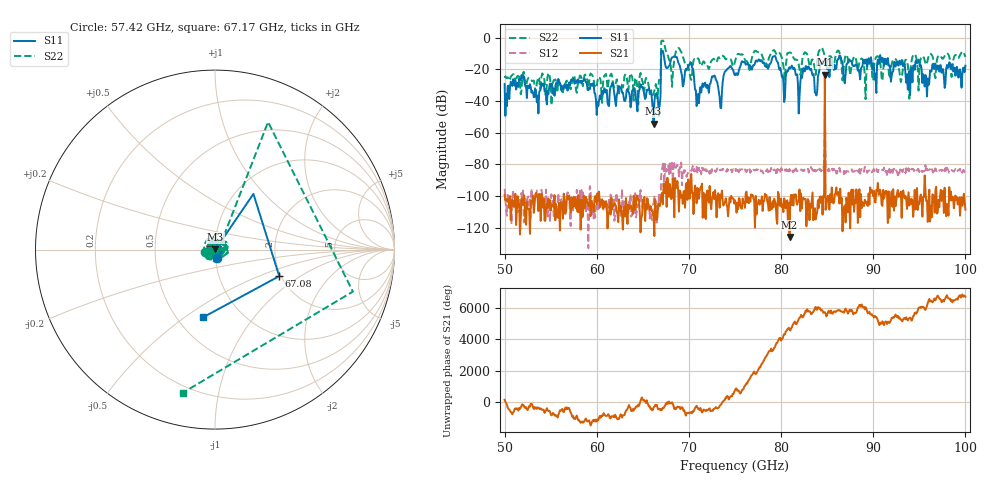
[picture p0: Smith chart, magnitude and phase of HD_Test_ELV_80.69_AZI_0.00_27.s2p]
! 11/25/2026 9:20:16 AM
! C:\ANRITSUVNA\TEMP\TEMP.S2P
! CHANNEL.1
! TR.MEASUREMENT
! RAW.DATA
# HZ S RI R 50.0
! FREQ.HZ  S11RE  S11IM  S21RE  S21IM  S12RE  S12IM  S22RE  S22IM
!; PortSelection: Port_12
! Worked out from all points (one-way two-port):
!   601 points, 50 GHz to 100 GHz, reference 50 ohm
!   highest |S21| = -23.33 dB at 84.75 GHz (marker M1); lowest = -126.0 dB at 80.92 GHz (marker M2)
!   lowest |S11| = -54.3 dB at 66.17 GHz (marker M3), VSWR 1.00, Z = 50.1 + j0.151 ohm
!   |S11| at or under -10 dB: start of sweep to 67 GHz; 67.24 GHz to end of sweep
!   |S22| runs from -42.6 to -1.8 dB; largest |S21 - S12| = 0.062
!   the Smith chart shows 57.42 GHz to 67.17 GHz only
!   S11 on the Smith chart (normalised r, x): 57.42 GHz: 1.02, -0.09; 67.08 GHz: 1.96, -0.68; 67.17 GHz: 0.67, -0.59
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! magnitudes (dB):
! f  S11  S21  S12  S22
! 50 GHz  -29.2  -99.3  -95.5  -25.4
! 57.42 GHz  -26.3  -106.1  -109.2  -25.2
! 58.42 GHz  -27.2  -113.6  -106.9  -29.0
! 60.17 GHz  -43.2  -103.3  -102.8  -24.8
! 61.67 GHz  -28.7  -108.7  -102.0  -24.5
! 66.17 GHz  -54.3  -113.9  -104.4  -35.4
! 66.67 GHz  -41.9  -105.0  -108.4  -32.1
! 67.08 GHz  -8.2  -98.1  -82.9  -1.9
! 67.17 GHz  -8.3  -105.3  -80.2  -1.8
! 70.17 GHz  -15.5  -91.8  -84.2  -25.7
! 70.92 GHz  -40.7  -94.9  -85.8  -13.3
! 75 GHz  -23.7  -102.7  -84.4  -15.0
! 80.33 GHz  -40.6  -101.6  -83.4  -21.3
! 80.92 GHz  -18.7  -126.0  -82.9  -9.3
! 82 GHz  -37.5  -96.0  -84.0  -20.4
! 83.42 GHz  -23.8  -97.8  -83.9  -13.8
! 84.75 GHz  -17.4  -23.3  -44.1  -11.7
! 91.67 GHz  -16.7  -97.1  -85.1  -20.5
! 93.75 GHz  -32.8  -102.8  -84.0  -17.3
! 94.83 GHz  -15.0  -108.9  -82.9  -20.3
! 95.83 GHz  -37.1  -102.9  -83.0  -15.9
! 100 GHz  -17.7  -108.7  -83.8  -12.2
